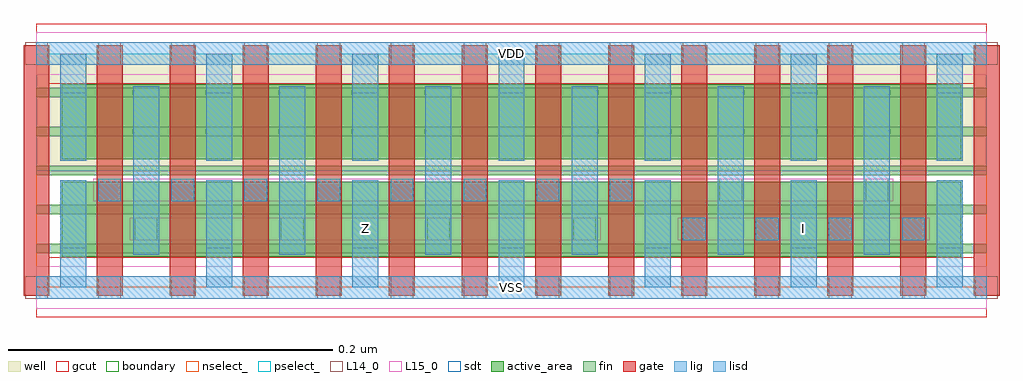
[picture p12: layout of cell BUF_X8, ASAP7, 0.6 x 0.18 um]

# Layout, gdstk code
import gdstk
lib = gdstk.Library(unit=1e-6, precision=2.5e-10)
def R(c, l, rs):  # rectangles x0, y0, x1, y1
    for r in rs: c.add(gdstk.rectangle(r[:2], r[2:], *l))
def A(c, l, x, y, w, h, nx, ny, dx, dy):  # array of equal rectangles
    R(c, l, [(x+i*dx, y+j*dy, x+i*dx+w, y+j*dy+h) for i in range(nx) for j in range(ny)])
well = (1, 0)
fin = (2, 0)
gate = (7, 0)
gcut = (10, 0)
active_area = (11, 0)
nselect_ = (12, 0)
pselect_ = (13, 0)
L14_0 = (14, 0)
L15_0 = (15, 0)
lig = (16, 0)
lisd = (17, 0)
sdt = (88, 0)
boundary = (100, 0)

buf_x8 = lib.new_cell('BUF_X8')
R(buf_x8, well, [(0,0.072,0.585,0.144)])
A(buf_x8, fin, 0, 0.021, 0.585, 0.006, 1, 5, 0, 0.024)
A(buf_x8, gate, -0.008, -0.005, 0.016, 0.154, 14, 1, 0.045, 0)
R(buf_x8, gcut, [(0,-0.0185,0.585,0.0185), (-0.008,-0.005,0.008,0.149), (0.577,-0.005,0.593,0.149), (0,0.1255,0.585,0.1625)])
A(buf_x8, active_area, 0.0155, 0.019, 0.059, 0.046, 12, 2, 0.045, 0.06)
R(buf_x8, nselect_, [(0,0,0.585,0.072)])
R(buf_x8, pselect_, [(0,0.072,0.585,0.144)])
A(buf_x8, L14_0, -0.007, -0.007, 0.014, 0.014, 14, 2, 0.045, 0.144)
A(buf_x8, L14_0, 0.0605, 0.029, 0.014, 0.014, 4, 1, 0.09, 0)
A(buf_x8, L14_0, 0.398, 0.029, 0.014, 0.014, 4, 1, 0.045, 0)
A(buf_x8, L14_0, 0.038, 0.053, 0.014, 0.014, 8, 1, 0.045, 0)
R(buf_x8, L14_0, [(0.4205,0.053,0.4345,0.067), (0.5105,0.053,0.5245,0.067)])
R(buf_x8, L15_0, [(0,-0.013,0.585,0.013), (0.0575,0.029,0.3475,0.043), (0.395,0.029,0.55,0.043), (0.035,0.053,0.5275,0.067), (0,0.131,0.585,0.157)])
A(buf_x8, lig, 0.398, 0.029, 0.014, 0.014, 4, 1, 0.045, 0)
A(buf_x8, lig, 0.038, 0.053, 0.014, 0.014, 8, 1, 0.045, 0)
R(buf_x8, lig, [(0,-0.007,0.585,0.007), (0,0.137,0.585,0.151)])
R(buf_x8, lisd, [(0.0145,0,0.0305,0.066), (0.1045,0,0.1205,0.066), (0.1045,0,0.1205,0.066), (0.1945,0,0.2105,0.066), (0.1945,0,0.2105,0.066), (0.2845,0,0.3005,0.066), (0.2845,0,0.3005,0.066), (0.3745,0,0.3905,0.066), (0.3745,0,0.3905,0.066), (0.4645,0,0.4805,0.066), (0.4645,0,0.4805,0.066), (0.5545,0,0.5705,0.066), (0.0595,0.02,0.0755,0.124), (0.0595,0.02,0.0755,0.124), (0.1495,0.02,0.1655,0.124), (0.1495,0.02,0.1655,0.124), (0.2395,0.02,0.2555,0.124), (0.2395,0.02,0.2555,0.124), (0.3295,0.02,0.3455,0.124), (0.3295,0.02,0.3455,0.124), (0.4195,0.02,0.4355,0.124), (0.4195,0.02,0.4355,0.124), (0.5095,0.02,0.5255,0.124), (0.5095,0.02,0.5255,0.124), (0.0145,0.078,0.0305,0.144), (0.1045,0.078,0.1205,0.144), (0.1045,0.078,0.1205,0.144), (0.1945,0.078,0.2105,0.144), (0.1945,0.078,0.2105,0.144), (0.2845,0.078,0.3005,0.144), (0.2845,0.078,0.3005,0.144), (0.3745,0.078,0.3905,0.144), (0.3745,0.078,0.3905,0.144), (0.4645,0.078,0.4805,0.144), (0.4645,0.078,0.4805,0.144), (0.5545,0.078,0.5705,0.144)])
R(buf_x8, sdt, [(0.0595,0.02,0.0755,0.124), (0.0595,0.02,0.0755,0.124), (0.1495,0.02,0.1655,0.124), (0.1495,0.02,0.1655,0.124), (0.2395,0.02,0.2555,0.124), (0.2395,0.02,0.2555,0.124), (0.3295,0.02,0.3455,0.124), (0.3295,0.02,0.3455,0.124), (0.4195,0.02,0.4355,0.124), (0.4195,0.02,0.4355,0.124), (0.5095,0.02,0.5255,0.124), (0.5095,0.02,0.5255,0.124), (0.0145,0.024,0.0305,0.066), (0.1045,0.024,0.1205,0.066), (0.1045,0.024,0.1205,0.066), (0.1945,0.024,0.2105,0.066), (0.1945,0.024,0.2105,0.066), (0.2845,0.024,0.3005,0.066), (0.2845,0.024,0.3005,0.066), (0.3745,0.024,0.3905,0.066), (0.3745,0.024,0.3905,0.066), (0.4645,0.024,0.4805,0.066), (0.4645,0.024,0.4805,0.066), (0.5545,0.024,0.5705,0.066), (0.0145,0.078,0.0305,0.12), (0.1045,0.078,0.1205,0.12), (0.1045,0.078,0.1205,0.12), (0.1945,0.078,0.2105,0.12), (0.1945,0.078,0.2105,0.12), (0.2845,0.078,0.3005,0.12), (0.2845,0.078,0.3005,0.12), (0.3745,0.078,0.3905,0.12), (0.3745,0.078,0.3905,0.12), (0.4645,0.078,0.4805,0.12), (0.4645,0.078,0.4805,0.12), (0.5545,0.078,0.5705,0.12)])
R(buf_x8, boundary, [(0,0,0.585,0.144)])
buf_x8.add(gdstk.Label('VDD', (0.2925,0.144), layer=1, texttype=251))
buf_x8.add(gdstk.Label('VSS', (0.2925,0), layer=3, texttype=251))
buf_x8.add(gdstk.Label('Z', (0.2025,0.036), layer=15, texttype=251))
buf_x8.add(gdstk.Label('I', (0.4725,0.036), layer=15, texttype=251))
buf_x8.add(gdstk.Label('VSS', (0.2925,0), layer=15, texttype=251))
buf_x8.add(gdstk.Label('VDD', (0.2925,0.144), layer=15, texttype=251))

lib.write_gds('BUF_X8.gds')
